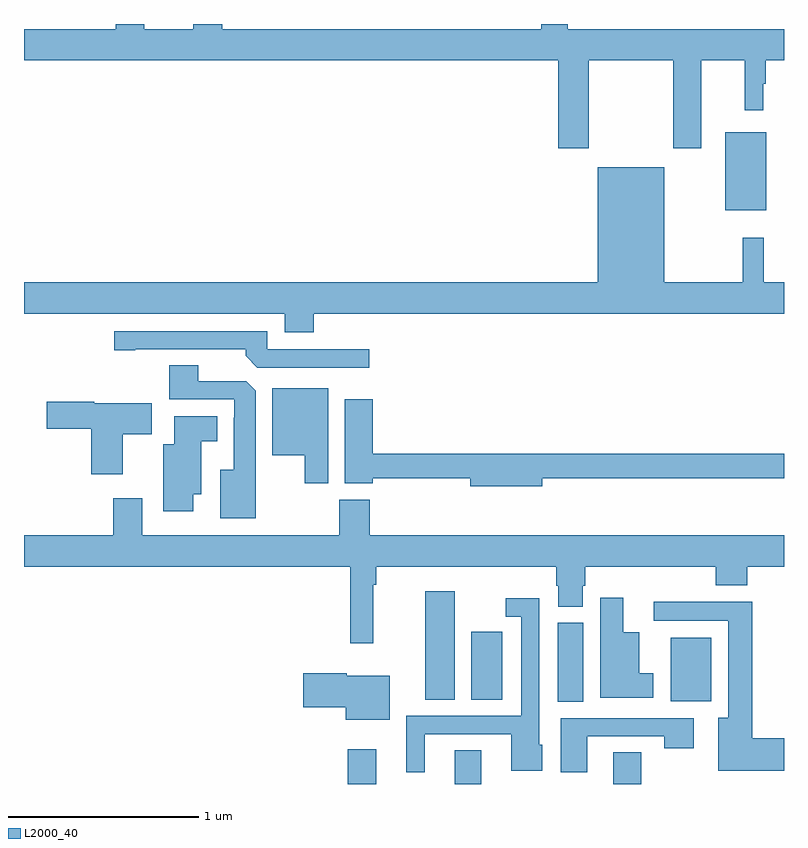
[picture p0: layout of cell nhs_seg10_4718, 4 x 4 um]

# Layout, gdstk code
import gdstk
lib = gdstk.Library(unit=1e-6, precision=1e-09)
def R(c, l, rs):  # rectangles x0, y0, x1, y1
    for r in rs: c.add(gdstk.rectangle(r[:2], r[2:], *l))
def P(c, l, *ps):  # polygons
    for p in ps: c.add(gdstk.Polygon(p, *l))
L2000_40 = (2000, 40)

nhs_seg10_4718 = lib.new_cell('nhs_seg10_4718')
R(nhs_seg10_4718, L2000_40, [(382.703,1304.5,382.855,1304.683), (383.267,1304.5,383.407,1304.678), (384.101,1304.5,384.249,1304.666), (383.81,1304.932,383.944,1305.348), (384.404,1304.936,384.616,1305.271), (383.111,1304.944,383.266,1305.514), (383.354,1304.944,383.518,1305.301), (384.692,1307.519,384.907,1307.929)])
P(nhs_seg10_4718, L2000_40, [(383.973,1308.308),(384.418,1308.308),(384.418,1307.847),(384.565,1307.847),(384.565,1308.308),(384.793,1308.308),(384.793,1308.045),(384.892,1308.045),(384.892,1308.185),(384.904,1308.185),(384.904,1308.308),(385,1308.308),(385,1308.472),(383.863,1308.472),(383.863,1308.5),(383.723,1308.5),(383.723,1308.472),(382.043,1308.472),(382.043,1308.5),(381.89,1308.5),(381.89,1308.472),(381.634,1308.472),(381.634,1308.5),(381.482,1308.5),(381.482,1308.472),(381,1308.472),(381,1308.308),(383.813,1308.308),(383.813,1307.847),(383.973,1307.847)],
  [(382.526,1306.976),(385,1306.976),(385,1307.14),(384.893,1307.14),(384.893,1307.374),(384.783,1307.374),(384.783,1307.14),(384.37,1307.14),(384.37,1307.746),(384.02,1307.746),(384.02,1307.14),(381,1307.14),(381,1306.976),(382.373,1306.976),(382.373,1306.877),(382.526,1306.877)],
  [(382.816,1306.788),(382.281,1306.788),(382.281,1306.884),(381.474,1306.884),(381.474,1306.783),(381.586,1306.783),(381.586,1306.788),(382.166,1306.788),(382.166,1306.754),(382.227,1306.692),(382.816,1306.692)],
  [(382.219,1306.571),(382.17,1306.62),(381.916,1306.62),(381.916,1306.703),(381.764,1306.703),(381.764,1306.524),(382.107,1306.524),(382.107,1306.427),(382.103,1306.427),(382.103,1306.153),(382.034,1306.153),(382.034,1305.899),(382.219,1305.899)],
  [(382.6,1306.582),(382.307,1306.582),(382.307,1306.229),(382.478,1306.229),(382.478,1306.083),(382.6,1306.083)],
  [(383.728,1306.11),(385,1306.11),(385,1306.238),(382.835,1306.238),(382.835,1306.525),(382.688,1306.525),(382.688,1306.082),(382.835,1306.082),(382.835,1306.11),(383.348,1306.11),(383.348,1306.067),(383.728,1306.067)],
  [(381.52,1306.342),(381.673,1306.342),(381.673,1306.504),(381.369,1306.504),(381.369,1306.512),(381.12,1306.512),(381.12,1306.37),(381.353,1306.37),(381.353,1306.131),(381.52,1306.131)],
  [(381.892,1306.025),(381.934,1306.025),(381.934,1306.304),(382.018,1306.304),(382.018,1306.435),(381.791,1306.435),(381.791,1306.288),(381.734,1306.288),(381.734,1305.936),(381.892,1305.936)],
  [(382.82,1305.997),(382.66,1305.997),(382.66,1305.808),(381.622,1305.808),(381.622,1306.003),(381.47,1306.003),(381.47,1305.808),(381,1305.808),(381,1305.644),(382.717,1305.644),(382.717,1305.24),(382.838,1305.24),(382.838,1305.548),(382.853,1305.548),(382.853,1305.644),(383.801,1305.644),(383.801,1305.543),(383.813,1305.543),(383.813,1305.433),(383.941,1305.433),(383.941,1305.543),(383.954,1305.543),(383.954,1305.644),(384.641,1305.644),(384.641,1305.545),(384.806,1305.545),(384.806,1305.644),(385,1305.644),(385,1305.808),(382.82,1305.808)],
  [(384.313,1305.082),(384.238,1305.082),(384.238,1305.298),(384.154,1305.298),(384.154,1305.481),(384.032,1305.481),(384.032,1304.954),(384.313,1304.954)],
  [(383.11,1304.763),(383.564,1304.763),(383.564,1304.57),(383.728,1304.57),(383.728,1304.706),(383.712,1304.706),(383.712,1305.478),(383.535,1305.478),(383.535,1305.381),(383.616,1305.381),(383.616,1304.859),(383.012,1304.859),(383.012,1304.562),(383.11,1304.562)],
  [(385,1304.741),(384.833,1304.741),(384.833,1305.458),(384.315,1305.458),(384.315,1305.36),(384.707,1305.36),(384.707,1304.848),(384.653,1304.848),(384.653,1304.57),(385,1304.57)],
  [(382.924,1305.07),(382.698,1305.07),(382.698,1305.083),(382.47,1305.083),(382.47,1304.905),(382.694,1304.905),(382.694,1304.837),(382.924,1304.837)],
  [(383.965,1304.751),(384.37,1304.751),(384.37,1304.688),(384.526,1304.688),(384.526,1304.847),(383.825,1304.847),(383.825,1304.562),(383.965,1304.562)])

lib.write_gds('nhs_seg10_4718.gds')
